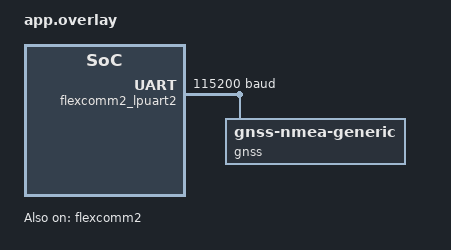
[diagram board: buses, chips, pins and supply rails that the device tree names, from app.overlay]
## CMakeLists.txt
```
cmake_minimum_required(VERSION 3.20.0)
find_package(Zephyr REQUIRED HINTS $ENV{ZEPHYR_BASE})
project(gnss)

target_sources(app PRIVATE src/main.c)
```

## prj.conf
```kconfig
CONFIG_GNSS=y
CONFIG_GNSS_SATELLITES=y
CONFIG_GNSS_NMEA_GENERIC=y
```

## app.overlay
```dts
&flexcomm2_lpuart2 {
	status = "okay";
	current-speed = <115200>;
	gnss: gnss-nmea-generic {
		compatible = "gnss-nmea-generic";
	};
};

&flexcomm2 {
	status = "okay";
};
```

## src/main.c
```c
#include <zephyr/kernel.h>
#include <zephyr/device.h>
#include <zephyr/drivers/gnss.h>

static struct device* gnss = DEVICE_DT_GET(DT_NODELABEL(gnss));

static void gnss_callback(const struct device* dev, const struct gnss_data* data) {
   /* Latitude/longitude are in nano-degrees */
        int64_t lat = data->nav_data.latitude;
        int64_t lon = data->nav_data.longitude;
        int64_t alt = data->nav_data.altitude; /* in mm */

        /* Print as integer + fractional parts */
        printk("Lat: %lld.%09lld, Lon: %lld.%09lld\n",
               lat / 1000000000LL,
               llabs(lat % 1000000000LL),
               lon / 1000000000LL,
               llabs(lon % 1000000000LL));

        printk("Alt: %lld.%03lld m\n",
               alt / 1000LL,
               llabs(alt % 1000LL));

        printk("Speed: %d.%03d m/s, Bearing: %d.%03d deg\n",
               data->nav_data.speed / 1000,
               abs(data->nav_data.speed % 1000),
               data->nav_data.bearing / 1000,
               abs(data->nav_data.bearing % 1000));

        printk("Sats: %u, HDOP: %u.%03u\n",
               data->info.satellites_cnt,
               data->info.hdop / 1000,
               data->info.hdop % 1000);
	return;
}

GNSS_DATA_CALLBACK_DEFINE(NULL, gnss_callback);

int main(void) {
	printk("hello\n");
	if (!device_is_ready(gnss)) {
		printk("gnss device error\n");
		return 0;
	}
	gnss_set_fix_rate(gnss, 1000);
	gnss_systems_t systems = GNSS_SYSTEM_GPS | GNSS_SYSTEM_GLONASS | GNSS_SYSTEM_GALILEO | GNSS_SYSTEM_QZSS | GNSS_SYSTEM_BEIDOU;
	gnss_set_enabled_systems(gnss, systems);
	while (1) {
		k_msleep(1000);
	}
	return 0;
}
```
